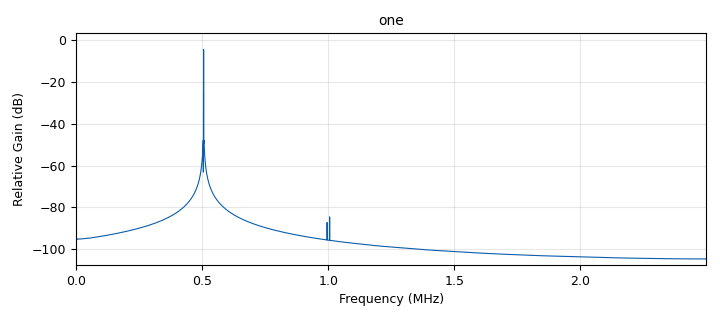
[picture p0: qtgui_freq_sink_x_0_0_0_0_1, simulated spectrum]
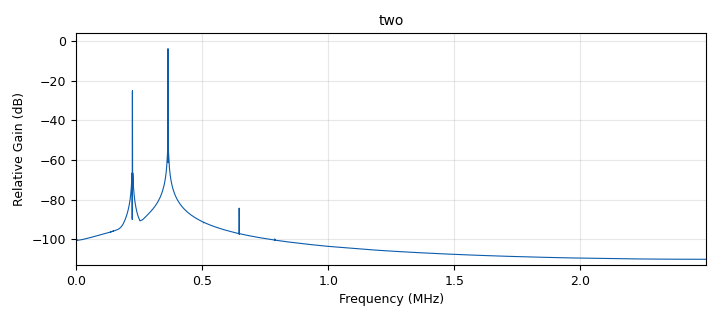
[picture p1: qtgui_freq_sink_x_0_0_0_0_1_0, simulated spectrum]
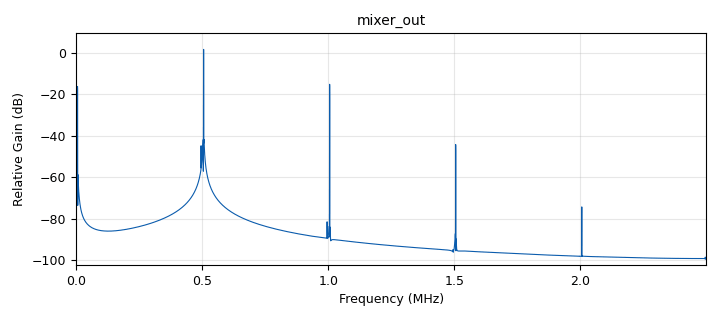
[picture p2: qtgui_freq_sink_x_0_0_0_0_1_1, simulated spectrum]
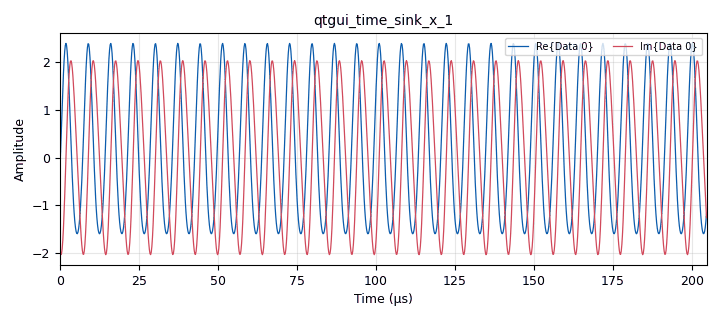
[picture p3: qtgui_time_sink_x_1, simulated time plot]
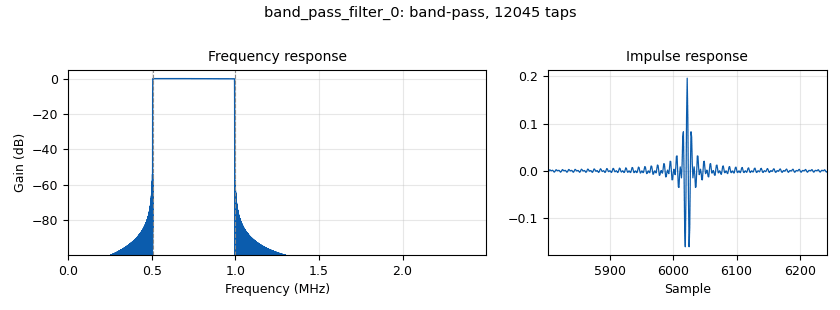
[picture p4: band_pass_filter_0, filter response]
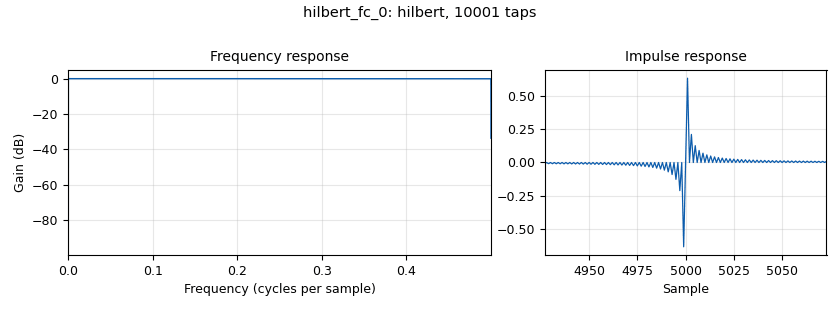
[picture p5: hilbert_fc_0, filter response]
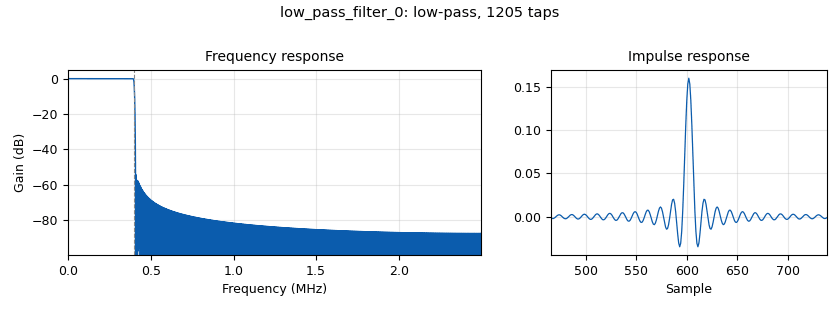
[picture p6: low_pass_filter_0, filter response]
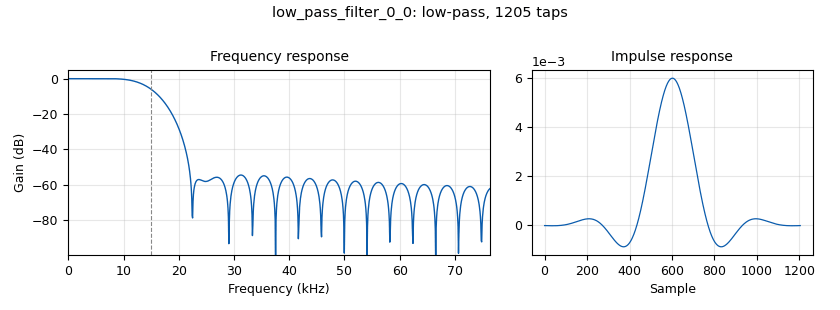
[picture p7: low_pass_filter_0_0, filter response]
options:
  parameters:
    generate_options: qt_gui
    id: high_frequency_if_stage
    output_language: python
    title: Not titled yet
  states: {}

blocks:
- name: freq1
  id: variable_qtgui_range
  parameters:
    orient: Qt.Horizontal
    start: 50e3
    step: '100'
    stop: 700e3
    value: 500e3
  states: {}
- name: freq2
  id: variable_qtgui_range
  parameters:
    orient: Qt.Horizontal
    start: 50e3
    step: '100'
    stop: 700e3
    value: '141170'
  states: {}
- name: samp_rate
  id: variable
  parameters:
    value: 5000e3
  states: {}
- name: analog_sig_source_x_0
  id: analog_sig_source_x
  parameters:
    amp: '2'
    freq: freq1
    offset: '0'
    phase: '0'
    samp_rate: samp_rate
    type: complex
    waveform: analog.GR_SIN_WAVE
  states: {}
- name: analog_sig_source_x_0_0
  id: analog_sig_source_x
  parameters:
    amp: '2'
    freq: 5e3
    offset: '0'
    phase: '0'
    samp_rate: samp_rate
    type: float
    waveform: analog.GR_SIN_WAVE
  states: {}
- name: analog_sig_source_x_0_2
  id: analog_sig_source_x
  parameters:
    amp: '2'
    freq: freq2
    offset: '0'
    phase: '0'
    samp_rate: samp_rate
    type: complex
    waveform: analog.GR_SIN_WAVE
  states: {}
- name: band_pass_filter_0
  id: band_pass_filter
  parameters:
    decim: '1'
    gain: '1'
    high_cutoff_freq: freq1*2-5e3
    low_cutoff_freq: freq1+5e3
    samp_rate: samp_rate
    type: fir_filter_fff
    width: 1e3
    win: firdes.WIN_HAMMING
  states: {}
- name: blocks_add_xx_0
  id: blocks_add_xx
  parameters:
    type: float
  states: {}
- name: blocks_complex_to_imag_0
  id: blocks_complex_to_imag
  parameters: {}
  states: {}
- name: blocks_complex_to_imag_0_0
  id: blocks_complex_to_imag
  parameters: {}
  states: {}
- name: blocks_complex_to_real_0
  id: blocks_complex_to_real
  parameters: {}
  states: {}
- name: blocks_complex_to_real_1
  id: blocks_complex_to_real
  parameters: {}
  states: {}
- name: blocks_complex_to_real_2
  id: blocks_complex_to_real
  parameters: {}
  states: {}
- name: blocks_multiply_xx_0
  id: blocks_multiply_xx
  parameters:
    type: float
  states: {}
- name: blocks_multiply_xx_0_0
  id: blocks_multiply_xx
  parameters:
    type: float
  states: {}
- name: blocks_multiply_xx_0_1
  id: blocks_multiply_xx
  parameters:
    type: float
  states: {}
- name: blocks_null_sink_0
  id: blocks_null_sink
  parameters:
    type: complex
  states: {}
- name: blocks_throttle_0
  id: blocks_throttle
  parameters:
    samples_per_second: samp_rate
    type: float
  states: {}
- name: channels_distortion_2_gen_0
  id: channels_distortion_2_gen
  parameters:
    beta: '0.05'
  states: {}
- name: channels_distortion_2_gen_0_0
  id: channels_distortion_2_gen
  parameters:
    beta: '0.05'
  states: {}
- name: channels_distortion_3_gen_0
  id: channels_distortion_3_gen
  parameters:
    beta: '0.05'
  states: {}
- name: channels_distortion_3_gen_0_0
  id: channels_distortion_3_gen
  parameters:
    beta: '0.05'
  states: {}
- name: hilbert_fc_0
  id: hilbert_fc
  parameters:
    num_taps: '10000'
    win: firdes.WIN_HAMMING
  states: {}
- name: low_pass_filter_0
  id: low_pass_filter
  parameters:
    cutoff_freq: 400e3
    decim: '1'
    gain: '1'
    samp_rate: samp_rate
    type: fir_filter_fff
    width: 10e3
    win: firdes.WIN_HAMMING
  states: {}
- name: low_pass_filter_0_0
  id: low_pass_filter
  parameters:
    cutoff_freq: 15e3
    decim: '1'
    gain: '1'
    samp_rate: samp_rate
    type: fir_filter_fff
    width: 10e3
    win: firdes.WIN_HAMMING
  states: {}
- name: qtgui_freq_sink_x_0_0_0_0_1
  id: qtgui_freq_sink_x
  parameters:
    autoscale: 'True'
    average: '0.2'
    bw: samp_rate
    fc: '0'
    fftsize: 8192*2-1
    freqhalf: 'False'
    grid: 'True'
    name: '"one"'
    tr_mode: qtgui.TRIG_MODE_AUTO
    type: float
    update_time: '0.015'
    wintype: firdes.WIN_HAMMING
  states: {}
- name: qtgui_freq_sink_x_0_0_0_0_1_0
  id: qtgui_freq_sink_x
  parameters:
    autoscale: 'True'
    average: '0.2'
    bw: samp_rate
    fc: '0'
    fftsize: 8192*2-1
    freqhalf: 'False'
    grid: 'True'
    name: '"two"'
    tr_mode: qtgui.TRIG_MODE_AUTO
    type: float
    update_time: '0.015'
    wintype: firdes.WIN_HAMMING
  states: {}
- name: qtgui_freq_sink_x_0_0_0_0_1_1
  id: qtgui_freq_sink_x
  parameters:
    autoscale: 'True'
    average: '0.2'
    bw: samp_rate
    fc: '0'
    fftsize: 8192*2-1
    freqhalf: 'False'
    grid: 'True'
    name: '"mixer_out"'
    tr_mode: qtgui.TRIG_MODE_AUTO
    type: float
    update_time: '0.015'
    wintype: firdes.WIN_HAMMING
  states: {}
- name: qtgui_time_sink_x_1
  id: qtgui_time_sink_x
  parameters:
    autoscale: 'True'
    grid: 'True'
    size: '1024'
    srate: samp_rate
    tr_mode: qtgui.TRIG_MODE_AUTO
    type: complex
  states: {}

connections:
- [analog_sig_source_x_0, '0', channels_distortion_2_gen_0, '0']
- [analog_sig_source_x_0_0, '0', blocks_throttle_0, '0']
- [analog_sig_source_x_0_2, '0', channels_distortion_2_gen_0_0, '0']
- [band_pass_filter_0, '0', blocks_multiply_xx_0_0, '0']
- [band_pass_filter_0, '0', qtgui_freq_sink_x_0_0_0_0_1, '0']
- [blocks_add_xx_0, '0', band_pass_filter_0, '0']
- [blocks_add_xx_0, '0', qtgui_freq_sink_x_0_0_0_0_1_1, '0']
- [blocks_complex_to_imag_0, '0', blocks_multiply_xx_0, '1']
- [blocks_complex_to_imag_0_0, '0', blocks_multiply_xx_0_1, '0']
- [blocks_complex_to_real_0, '0', blocks_multiply_xx_0_1, '1']
- [blocks_complex_to_real_1, '0', blocks_multiply_xx_0_0, '1']
- [blocks_complex_to_real_2, '0', blocks_multiply_xx_0, '0']
- [blocks_multiply_xx_0, '0', blocks_add_xx_0, '0']
- [blocks_multiply_xx_0_0, '0', low_pass_filter_0, '0']
- [blocks_multiply_xx_0_1, '0', blocks_add_xx_0, '1']
- [blocks_throttle_0, '0', low_pass_filter_0_0, '0']
- [channels_distortion_2_gen_0, '0', channels_distortion_3_gen_0, '0']
- [channels_distortion_2_gen_0_0, '0', blocks_complex_to_real_1, '0']
- [channels_distortion_2_gen_0_0, '0', channels_distortion_3_gen_0_0, '0']
- [channels_distortion_2_gen_0_0, '0', qtgui_time_sink_x_1, '0']
- [channels_distortion_3_gen_0, '0', blocks_complex_to_imag_0, '0']
- [channels_distortion_3_gen_0, '0', blocks_complex_to_real_0, '0']
- [channels_distortion_3_gen_0_0, '0', blocks_null_sink_0, '0']
- [hilbert_fc_0, '0', blocks_complex_to_imag_0_0, '0']
- [hilbert_fc_0, '0', blocks_complex_to_real_2, '0']
- [low_pass_filter_0, '0', qtgui_freq_sink_x_0_0_0_0_1_0, '0']
- [low_pass_filter_0_0, '0', hilbert_fc_0, '0']

metadata:
  file_format: 1
